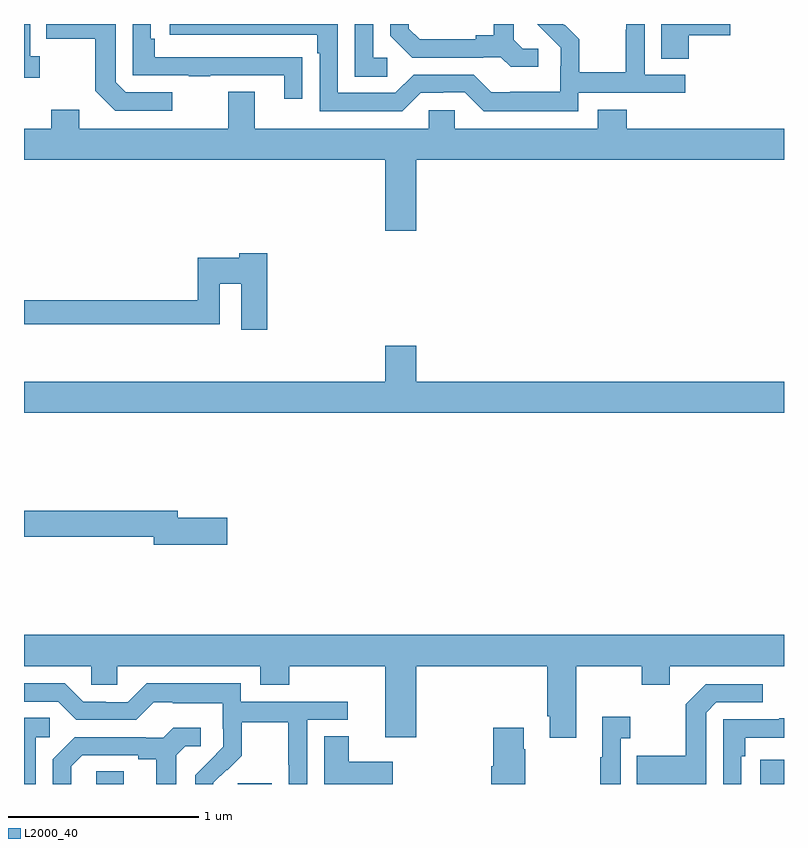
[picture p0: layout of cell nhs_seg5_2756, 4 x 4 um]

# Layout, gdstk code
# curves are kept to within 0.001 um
import gdstk
lib = gdstk.Library(unit=1e-6, precision=1e-09)
def R(c, l, rs):  # rectangles x0, y0, x1, y1
    for r in rs: c.add(gdstk.rectangle(r[:2], r[2:], *l))
def P(c, l, *ps):  # polygons
    for p in ps: c.add(gdstk.Polygon(p, *l))
L2000_40 = (2000, 40)

nhs_seg5_2756 = lib.new_cell('nhs_seg5_2756')
R(nhs_seg5_2756, L2000_40, [(271.38,862.799,271.525,862.865), (272.126,862.799,272.305,862.803), (274.875,862.799,275,862.926)])
P(nhs_seg5_2756, L2000_40, [(273.918,866.436),(274.48,866.436),(274.48,866.532),(274.266,866.532),(274.266,866.799),(274.17,866.799),(274.17,866.768),(274.168,866.768),(274.168,866.545),(273.923,866.545),(273.923,866.719),(273.846,866.796),(273.843,866.793),(273.837,866.799),(273.701,866.799),(273.824,866.674),(273.824,866.577),(273.822,866.577),(273.822,866.443),(273.559,866.443),(273.559,866.439),(273.459,866.439),(273.366,866.532),(273.051,866.532),(272.955,866.436),(272.652,866.436),(272.652,866.799),(271.767,866.799),(271.767,866.742),(272.543,866.742),(272.543,866.645),(272.556,866.645),(272.556,866.34),(272.991,866.34),(273.087,866.436),(273.206,866.436),(273.206,866.439),(273.321,866.439),(273.421,866.339),(273.918,866.339)],
  [(271.78,866.439),(271.536,866.439),(271.482,866.493),(271.482,866.799),(271.117,866.799),(271.117,866.722),(271.374,866.722),(271.374,866.449),(271.479,866.343),(271.78,866.343)],
  [(272.465,866.624),(272.363,866.624),(272.363,866.625),(271.688,866.625),(271.688,866.722),(271.668,866.722),(271.668,866.799),(271.572,866.799),(271.572,866.529),(271.867,866.529),(271.867,866.524),(271.979,866.524),(271.979,866.529),(272.369,866.529),(272.369,866.406),(272.465,866.406)],
  [(271.084,866.63),(271.032,866.63),(271.032,866.799),(271,866.799),(271,866.517),(271.084,866.517)],
  [(274.499,866.741),(274.717,866.741),(274.717,866.799),(274.355,866.799),(274.355,866.617),(274.499,866.617)],
  [(273.706,866.67),(273.624,866.67),(273.577,866.717),(273.577,866.799),(273.473,866.799),(273.473,866.741),(273.377,866.741),(273.377,866.718),(273.082,866.718),(273.025,866.775),(273.025,866.799),(272.928,866.799),(272.928,866.738),(273.044,866.622),(273.416,866.622),(273.416,866.625),(273.51,866.625),(273.562,866.573),(273.706,866.573)],
  [(272.911,866.622),(272.838,866.622),(272.838,866.799),(272.742,866.799),(272.742,866.521),(272.911,866.521)],
  [(273.064,866.084),(275,866.084),(275,866.248),(274.172,866.248),(274.172,866.347),(274.019,866.347),(274.019,866.248),(273.267,866.248),(273.267,866.346),(273.129,866.346),(273.129,866.248),(272.215,866.248),(272.215,866.443),(272.075,866.443),(272.075,866.248),(271.291,866.248),(271.291,866.347),(271.144,866.347),(271.144,866.248),(271,866.248),(271,866.084),(272.9,866.084),(272.9,865.71),(273.064,865.71)],
  [(272.279,865.592),(272.132,865.592),(272.132,865.568),(271.915,865.568),(271.915,865.346),(271,865.346),(271,865.218),(272.031,865.218),(272.031,865.432),(272.144,865.432),(272.144,865.191),(272.279,865.191)],
  [(275,864.916),(273.064,864.916),(273.064,865.105),(272.9,865.105),(272.9,864.916),(271,864.916),(271,864.752),(275,864.752)],
  [(272.071,864.2),(271.81,864.2),(271.81,864.236),(271,864.236),(271,864.1),(271.682,864.1),(271.682,864.058),(272.071,864.058)],
  [(273.907,863.42),(274.252,863.42),(274.252,863.321),(274.399,863.321),(274.399,863.42),(275,863.42),(275,863.584),(271,863.584),(271,863.42),(271.353,863.42),(271.353,863.322),(271.491,863.322),(271.491,863.42),(272.243,863.42),(272.243,863.321),(272.396,863.321),(272.396,863.42),(272.9,863.42),(272.9,863.046),(273.064,863.046),(273.064,863.42),(273.755,863.42),(273.755,863.155),(273.767,863.155),(273.767,863.043),(273.907,863.043)],
  [(271.997,862.805),(272.067,862.875),(272.07,862.872),(272.147,862.949),(272.147,863.124),(272.392,863.124),(272.392,862.9),(272.394,862.9),(272.394,862.799),(272.49,862.799),(272.49,863.136),(272.704,863.136),(272.704,863.232),(272.142,863.232),(272.142,863.329),(271.645,863.329),(271.545,863.229),(271.43,863.229),(271.43,863.232),(271.311,863.232),(271.215,863.328),(271,863.328),(271,863.232),(271.179,863.232),(271.275,863.136),(271.59,863.136),(271.683,863.229),(271.783,863.229),(271.783,863.225),(272.046,863.225),(272.046,863.091),(272.048,863.091),(272.048,862.994),(271.902,862.846),(271.902,862.799),(271.997,862.799)],
  [(274.59,863.175),(274.644,863.229),(274.888,863.229),(274.888,863.325),(274.587,863.325),(274.482,863.219),(274.482,862.947),(274.225,862.947),(274.225,862.799),(274.59,862.799)],
  [(274.14,863.039),(274.192,863.039),(274.192,863.152),(274.043,863.152),(274.043,862.939),(274.032,862.939),(274.032,862.799),(274.14,862.799)],
  [(271.062,863.046),(271.135,863.046),(271.135,863.147),(271,863.147),(271,862.799),(271.062,862.799)],
  [(274.776,862.946),(274.796,862.946),(274.796,863.043),(275,863.043),(275,863.144),(274.975,863.144),(274.975,863.139),(274.68,863.139),(274.68,862.799),(274.776,862.799)],
  [(273.639,862.982),(273.631,862.982),(273.631,863.095),(273.469,863.095),(273.469,862.893),(273.458,862.893),(273.458,862.799),(273.639,862.799)],
  [(271.249,862.893),(271.306,862.95),(271.601,862.95),(271.601,862.928),(271.697,862.928),(271.697,862.799),(271.801,862.799),(271.801,862.951),(271.848,862.998),(271.93,862.998),(271.93,863.095),(271.786,863.095),(271.734,863.043),(271.64,863.043),(271.64,863.046),(271.268,863.046),(271.152,862.93),(271.152,862.799),(271.249,862.799)],
  [(272.941,862.915),(272.71,862.915),(272.71,863.051),(272.579,863.051),(272.579,862.799),(272.941,862.799)])

lib.write_gds('nhs_seg5_2756.gds')
